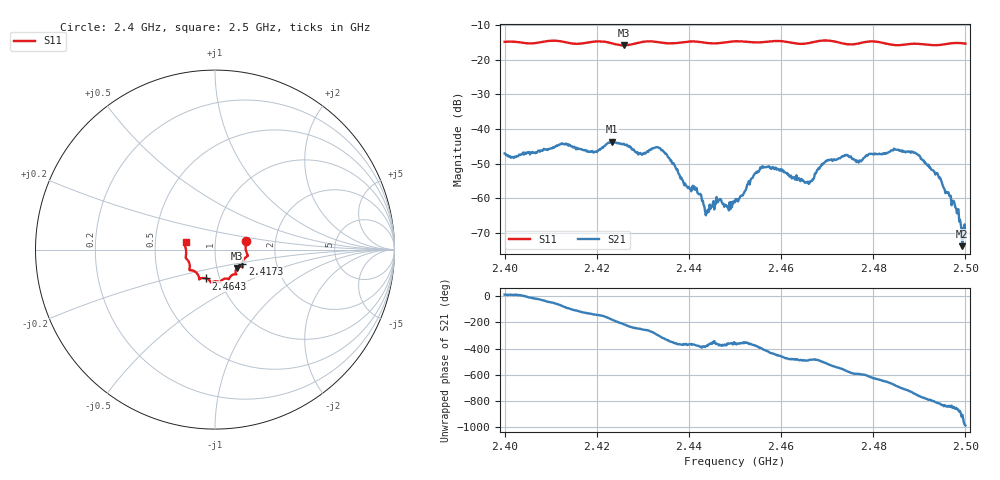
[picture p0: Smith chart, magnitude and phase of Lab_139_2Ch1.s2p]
# Hz S RI R 50
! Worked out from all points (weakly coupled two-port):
!   601 points, 2.4 GHz to 2.5 GHz, reference 50 ohm
!   highest |S21| = -43.65 dB at 2.4233 GHz (marker M1); lowest = -73.7 dB at 2.4993 GHz (marker M2)
!   lowest |S11| = -15.9 dB at 2.4258 GHz (marker M3), VSWR 1.38, Z = 62.3 - j13.3 ohm
!   |S11| at or under -10 dB: start of sweep to end of sweep
!   S12 and S22 are empty: the file has one direction only
!   S11 on the Smith chart (normalised r, x): 2.4 GHz: 1.41, +0.14; 2.4173 GHz: 1.34, -0.23; 2.4643 GHz: 0.86, -0.28; 2.5 GHz: 0.72, +0.06
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2.4e9  0.1734 0.0488  0.00433 0.001  0 0  0 0
2.416667e9  0.1529 -0.0745  -0.00259 -0.00442  0 0  0 0
2.417333e9  0.1521 -0.0821  -0.00277 -0.00408  0 0  0 0
2.423333e9  0.1429 -0.0943  -0.00657 -0.00012  0 0  0 0
2.425833e9  0.1217 -0.1037  -0.00514 0.00339  0 0  0 0
2.4295e9  0.1164 -0.1344  -0.00168 0.00419  0 0  0 0
2.433333e9  0.113 -0.1374  0.00257 0.00476  0 0  0 0
2.439333e9  0.0796 -0.1611  0.00155 -0.000107  0 0  0 0
2.442167e9  0.0738 -0.164  0.00109 -0.000406  0 0  0 0
2.443833e9  0.0643 -0.1611  0.000623 -0.000226  0 0  0 0
2.4465e9  0.0436 -0.1666  0.000914 -0.000259  0 0  0 0
2.45e9  0.0288 -0.1809  0.000881 -8.46e-05  0 0  0 0
2.456e9  -0.00669 -0.1779  0.00208 -0.00205  0 0  0 0
2.464333e9  -0.0499 -0.1606  -0.00117 -0.00151  0 0  0 0
2.466667e9  -0.0759 -0.1592  -0.00103 -0.00146  0 0  0 0
2.470167e9  -0.0881 -0.1658  -0.00329 -0.00132  0 0  0 0
2.483333e9  -0.1406 -0.0899  0.0022 0.00406  0 0  0 0
2.488833e9  -0.1624 -0.0462  0.00421 -0.00174  0 0  0 0
2.4935e9  -0.1608 -0.00828  1.08e-05 -0.0022  0 0  0 0
2.498e9  -0.1704 0.0324  -0.000487 -0.000524  0 0  0 0
2.499333e9  -0.167 0.0389  -0.000205 2.16e-05  0 0  0 0
2.5e9  -0.164 0.0426  -1.07e-05 0.000276  0 0  0 0
